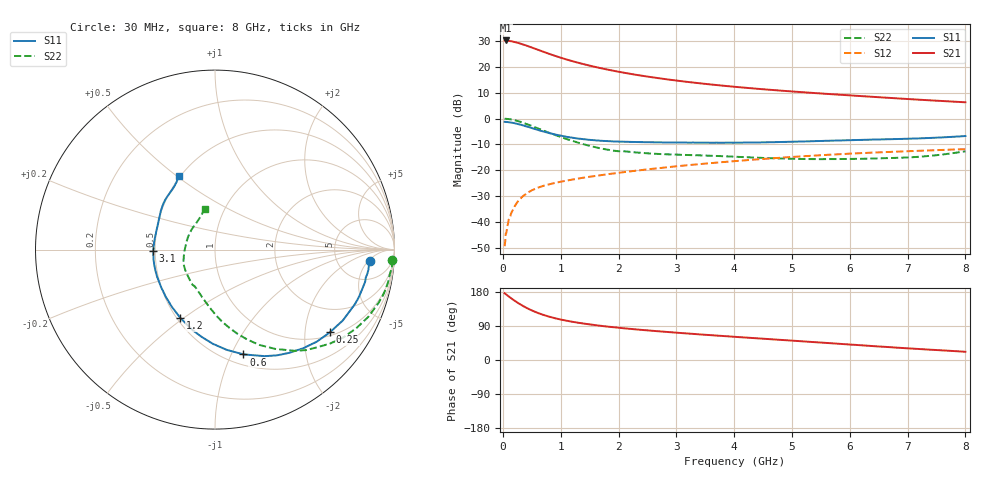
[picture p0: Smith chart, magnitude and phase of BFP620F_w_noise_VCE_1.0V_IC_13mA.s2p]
! Infineon Technologies  Discrete & RF Semiconductors
! BFP620F
! VCE =  1.0 V,  IC =  13 mA
! Common Emitter S-Parameters:  Dec 2014
# GHz  S  MA  R  50
!  f  S11  S21  S12  S22
! GHz  MAG  ANG  MAG  ANG  MAG  ANG  MAG  ANG
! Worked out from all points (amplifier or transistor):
!   95 points, 30 MHz to 8 GHz, reference 50 ohm
!   highest |S21| = 30.2 dB at 60 MHz (marker M1)
!   |S21| within 3 dB of that: start of sweep to 533 MHz
!   unconditionally stable (mu >= 1): 3.614 GHz to end of sweep
!   at 300 MHz: K = 0.20, MSG = 30.0 dB, |S12| = -31.1 dB
!   at 3.3 GHz: K = 0.99, MSG = 15.9 dB, |S12| = -17.8 dB
!   at 8 GHz: K = 1.08, MAG = 7.4 dB, |S12| = -11.8 dB
!   lowest NFmin = 0.66 dB at 450 MHz
!   S11 on the Smith chart (normalised r, x): 30 MHz: 11, -6; 250 MHz: 1.11, -2.70; 600 MHz: 0.60, -1.11; 1.2 GHz: 0.52, -0.49; 3.1 GHz: 0.49, -0.01; 8 GHz: 0.49, +0.51
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0.03  0.8639 -4.4  32.37 176.2  0.0034 83.2  0.9892 -3.4
0.06  0.859 -9.1  32.42 172.8  0.0061 78.7  0.9862 -7.1
0.09  0.8525 -13.4  32.15 169.0  0.0093 87.0  0.9809 -10.8
0.15  0.8334 -22.2  31.27 162.2  0.0153 78.1  0.9587 -18.0
0.25  0.7891 -35.7  29.36 151.7  0.0242 72.5  0.9009 -29.1
0.3  0.7649 -42.1  28.27 147.0  0.028 69.7  0.8668 -34.3
0.4  0.7084 -54.3  25.98 138.2  0.0346 65.5  0.7893 -43.5
0.5  0.6557 -64.9  23.68 130.9  0.0409 61.9  0.7186 -51.7
0.6  0.605 -74.8  21.54 124.4  0.0458 58.9  0.6477 -58.7
0.7  0.5621 -83.4  19.6 119.0  0.0499 56.5  0.5863 -65.0
0.9  0.4928 -98.5  16.36 110.3  0.0568 53.9  0.4822 -75.4
1  0.4674 -105.1  15.05 106.8  0.06 53.2  0.4403 -79.9
1.2  0.4267 -116.9  12.91 100.9  0.066 52.1  0.3711 -88.4
1.4  0.3988 -127.3  11.26 96.1  0.072 51.5  0.3182 -96.3
1.7  0.3714 -140.6  9.396 90.1  0.0804 51.2  0.2629 -108.0
2  0.3581 -151.6  8.055 85.2  0.0891 50.9  0.2331 -119.3
2.7  0.3468 -170.7  6.024 75.7  0.1099 49.1  0.2063 -139.2
3.1  0.344 -179.1  5.269 71.0  0.1222 47.8  0.1986 -147.7
4.1  0.3423 163.3  4.03 60.2  0.1528 43.6  0.1808 -164.6
5.4  0.3661 146.5  3.112 47.0  0.1925 36.1  0.1644 168.0
6.7  0.3988 131.1  2.506 33.8  0.2264 27.3  0.1723 138.0
8  0.4593 116.0  2.064 21.7  0.256 18.5  0.2325 104.2
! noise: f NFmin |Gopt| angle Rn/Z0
0.45  0.66  0.19  8  0.2
0.9  0.73  0.17  18  0.18
1.5  0.78  0.17  20  0.13
1.8  0.81  0.15  23  0.11
1.9  0.82  0.11  37  0.13
2.4  0.86  0.1  53  0.12
3.5  0.95  0.09  78  0.12
5.5  1.11  0.11  197  0.09
6  1.15  0.1  226  0.13
